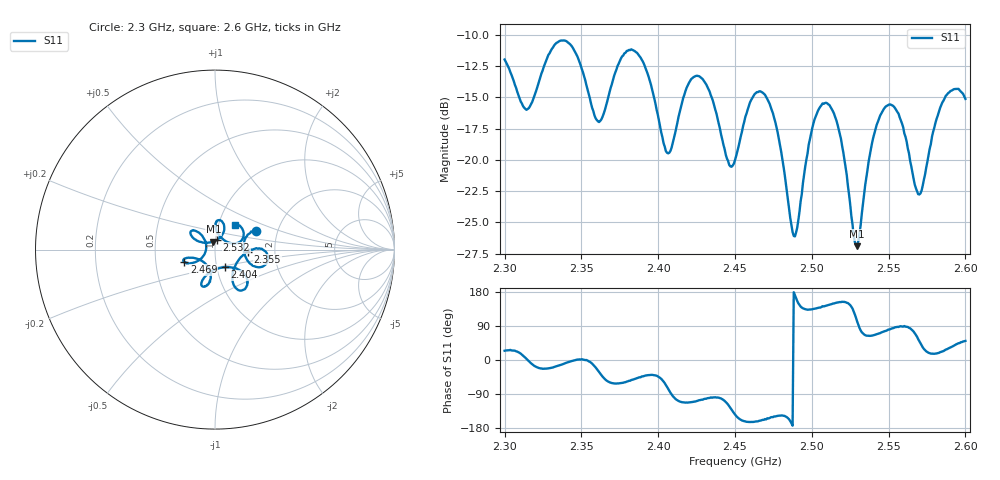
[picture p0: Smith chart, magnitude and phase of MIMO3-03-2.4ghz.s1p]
! NanoVNA-App
! Date: 2026-05-22 19:20:45
! Start: 2.3GHz Stop: 2.6GHz Points: 401
! S-Parameter data: F S11
# Hz S RI R 50
!  Frequency  S11_Real  S11_Imag
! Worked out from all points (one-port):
!   401 points, 2.3 GHz to 2.6 GHz, reference 50 ohm
!   lowest |S11| = -26.9 dB at 2.53 GHz (marker M1), VSWR 1.09, Z = 48.9 + j4.34 ohm
!   |S11| at or under -10 dB: start of sweep to end of sweep
!   S11 on the Smith chart (normalised r, x): 2.3 GHz: 1.55, +0.34; 2.355 GHz: 1.45, -0.03; 2.404 GHz: 1.09, -0.22; 2.469 GHz: 0.70, -0.10; 2.532 GHz: 1.02, +0.11; 2.6 GHz: 1.20, +0.33
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2.3e9  0.229 0.1043
2.315e9  0.1596 -0.000466
2.3375e9  0.2934 -0.0605
2.35475e9  0.1836 -0.011
2.36225e9  0.1158 -0.0841
2.375e9  0.1192 -0.2176
2.38925e9  0.1829 -0.173
2.40425e9  0.0545 -0.0989
2.4125e9  -0.0397 -0.1352
2.4275e9  -0.0576 -0.206
2.45e9  -0.0803 -0.0592
2.4605e9  -0.166 -0.0499
2.46875e9  -0.1704 -0.0687
2.47775e9  -0.1085 -0.0695
2.4875e9  -0.0511 -0.00603
2.50025e9  -0.0924 0.0964
2.50775e9  -0.1308 0.1045
2.5175e9  -0.1177 0.061
2.525e9  -0.0543 0.0382
2.5295e9  -0.00934 0.0443
2.53175e9  0.0107 0.0534
2.5385e9  0.0486 0.0993
2.546e9  0.044 0.15
2.555e9  0.00894 0.1576
2.5625e9  0.00559 0.111
2.57e9  0.0471 0.0555
2.58575e9  0.158 0.069
2.6e9  0.1118 0.1349
